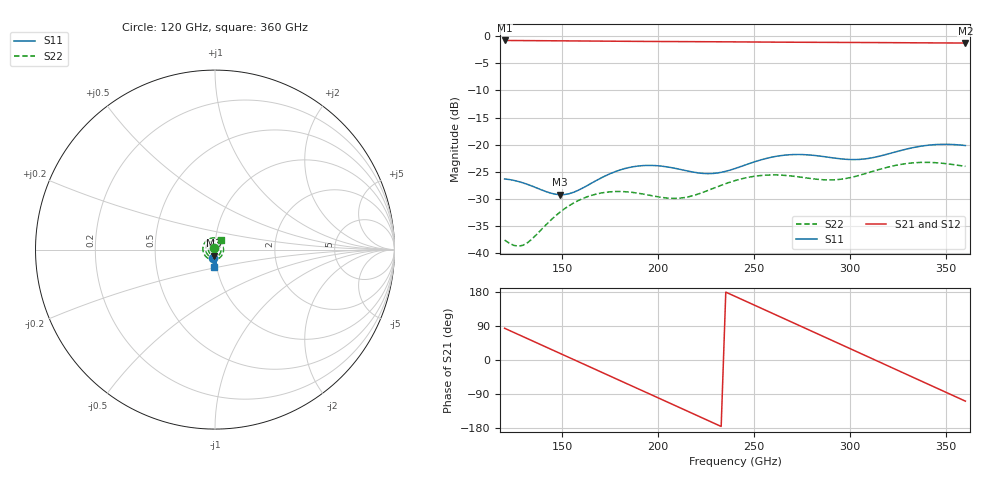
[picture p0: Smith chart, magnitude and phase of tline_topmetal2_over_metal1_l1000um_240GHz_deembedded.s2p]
! Created with skrf 2.0.1 (http://scikit-rf.org).
# GHz S DB R 50.0
!freq dBS11 angS11 dBS21 angS21 dBS12 angS12 dBS22 angS22
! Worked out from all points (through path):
!   101 points, 120 GHz to 360 GHz, reference 50 ohm
!   highest |S21| = -0.76 dB at 120 GHz (marker M1); lowest = -1.2 dB at 360 GHz (marker M2)
!   group delay of S21, straight-line fit = 6.39 ps
!   lowest |S11| = -29.3 dB at 148.8 GHz (marker M3), VSWR 1.07, Z = 49.3 - j3.35 ohm
!   |S11| at or under -10 dB: start of sweep to end of sweep
!   |S22| runs from -38.8 to -23.3 dB; largest |S21 - S12| = 1.1e-14
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120  -26.35 -102.8  -0.76 83.7  -0.76 83.7  -37.65 117.4
129.6  -27.07 -109.4  -0.79 61.7  -0.79 61.7  -38.60 47.2
148.8  -29.26 -99.6  -0.83 17.6  -0.83 17.6  -32.50 -64.5
160.8  -28.01 -84.9  -0.86 -10.0  -0.86 -10.0  -29.96 -113.0
170.4  -26.14 -82.3  -0.89 -32.0  -0.89 -32.0  -28.94 -149.8
182.4  -24.45 -87.5  -0.92 -59.6  -0.92 -59.6  -28.71 162.9
192  -23.89 -93.9  -0.94 -81.6  -0.94 -81.6  -29.14 121.8
201.6  -23.98 -99.4  -0.96 -103.6  -0.96 -103.6  -29.75 75.6
211.2  -24.57 -101.7  -0.97 -125.7  -0.97 -125.7  -29.90 24.5
223.2  -25.33 -97.3  -0.99 -153.3  -0.99 -153.3  -28.84 -39.4
240  -24.43 -85.8  -1.03 168.0  -1.03 168.0  -26.66 -117.4
249.6  -23.26 -84.5  -1.05 145.9  -1.05 145.9  -25.89 -157.7
261.6  -22.16 -88.1  -1.07 118.3  -1.07 118.3  -25.62 152.4
271.2  -21.84 -92.4  -1.09 96.2  -1.09 96.2  -25.88 110.6
280.8  -21.99 -95.8  -1.11 74.1  -1.11 74.1  -26.33 65.6
290.4  -22.43 -96.2  -1.12 52.0  -1.12 52.0  -26.53 16.8
302.4  -22.77 -91.7  -1.14 24.3  -1.14 24.3  -25.90 -45.3
312  -22.40 -86.5  -1.15 2.2  -1.15 2.2  -24.92 -91.8
321.6  -21.55 -83.8  -1.17 -20.0  -1.17 -20.0  -24.01 -134.7
340.8  -20.11 -87.7  -1.21 -64.3  -1.21 -64.3  -23.29 144.2
350.4  -19.96 -91.3  -1.22 -86.4  -1.22 -86.4  -23.55 102.6
360  -20.18 -93.7  -1.24 -108.6  -1.24 -108.6  -24.02 58.1
